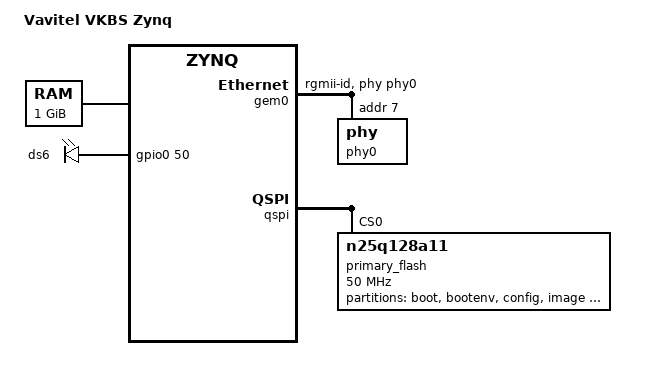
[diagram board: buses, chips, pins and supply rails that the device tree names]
/include/ "zynq.dtsi"

/ {
	model = "Vavitel VKBS Zynq";
	/include/ "dt_ver.dtsi"
	memory {
		device_type = "memory";
		reg = <0x00000000 0x40000000>;
	};

	chosen {
		bootargs = "console=ttyPS0,115200 root=/dev/mmcblk0p2 rw earlyprintk rootfstype=ext4 rootwait";
		linux,stdout-path = "/amba@0/uart@E0001000";
	};

	leds {
		compatible = "gpio-leds";
		ds6 {
			label = "ds6";
			gpios = <&gpio0 50 0>;
			linux,default-trigger = "heartbeat";
		};

	};
};

&gem0 {
	phy-handle = <&phy0>;
	phy-mode = "rgmii-id";

	phy0: phy@7 {
		device_type = "ethernet-phy";
		reg = <0x7>;
	};

};

&usb0 {
	xlnx,phy-reset-gpio = <&gpio0 7 0>;
};

&qspi {
	status = "okay";
	is-dual = <1>;
	num-cs = <1>;
	primary_flash: ps7-qspi@0 {
		#address-cells = <1>;
		#size-cells = <1>;
		spi-tx-bus-width = <1>;
		spi-rx-bus-width = <4>;
		compatible = "n25q128a11";
		reg = <0x0>;
		spi-max-frequency = <50000000>;
		partition@0 {
			label = "boot";
			reg = <0x00000000 0x00500000>;
		};
		partition@500000 {
			label = "bootenv";
			reg = <0x00500000 0x00020000>;
		};
		partition@520000 {
			label = "config";
			reg = <0x00520000 0x00020000>;
		};
		partition@540000 {
			label = "image";
			reg = <0x00540000 0x00a80000>;
		};
		partition@fc0000 {
			label = "spare";
			reg = <0x00fc0000 0x00000000>;
		};
	};
};
